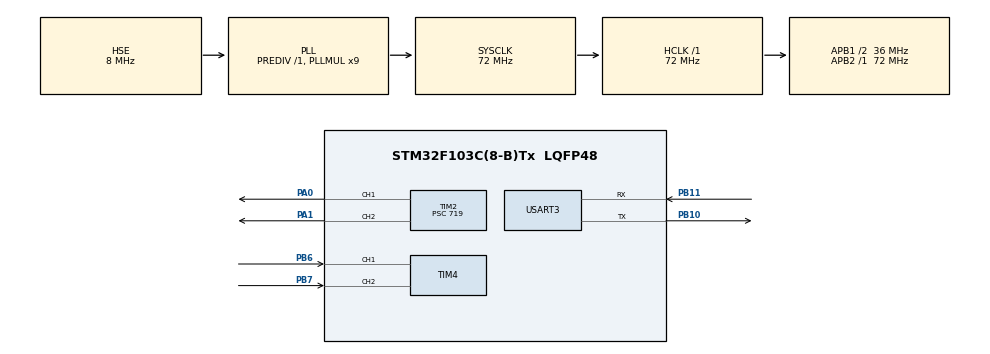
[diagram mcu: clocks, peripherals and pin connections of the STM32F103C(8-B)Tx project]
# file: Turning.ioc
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Mcu.Family=STM32F1
Mcu.Name=STM32F103C(8-B)Tx
Mcu.Package=LQFP48
NVIC.PriorityGroup=NVIC_PRIORITYGROUP_4
NVIC.TIM3_IRQn=true\:2\:0\:true\:false\:true\:true\:true\:true
NVIC.USART3_IRQn=true\:0\:0\:true\:false\:true\:true\:true\:true
PA0-WKUP.Signal=S_TIM2_CH1_ETR
PA1.Signal=S_TIM2_CH2
PA13.Mode=Serial_Wire
PA13.Signal=SYS_JTMS-SWDIO
PA14.Mode=Serial_Wire
PA14.Signal=SYS_JTCK-SWCLK
PB10.Mode=Asynchronous
PB10.Signal=USART3_TX
PB11.Mode=Asynchronous
PB11.Signal=USART3_RX
PB6.Signal=S_TIM4_CH1
PB7.Signal=S_TIM4_CH2
PD0-OSC_IN.Mode=HSE-External-Oscillator
PD0-OSC_IN.Signal=RCC_OSC_IN
PD1-OSC_OUT.Mode=HSE-External-Oscillator
PD1-OSC_OUT.Signal=RCC_OSC_OUT
ProjectManager.HeapSize=0x200
ProjectManager.StackSize=0x400
ProjectManager.TargetToolchain=STM32CubeIDE
RCC.AHBFreq_Value=72000000
RCC.APB1CLKDivider=RCC_HCLK_DIV2
RCC.APB1Freq_Value=36000000
RCC.APB1TimFreq_Value=72000000
RCC.APB2Freq_Value=72000000
RCC.APB2TimFreq_Value=72000000
RCC.HCLKFreq_Value=72000000
RCC.PLLMUL=RCC_PLL_MUL9
RCC.PLLSourceVirtual=RCC_PLLSOURCE_HSE
RCC.SYSCLKFreq_VALUE=72000000
RCC.SYSCLKSource=RCC_SYSCLKSOURCE_PLLCLK
RCC.USBFreq_Value=72000000
SH.S_TIM2_CH1_ETR.0=TIM2_CH1,PWM Generation1 CH1
SH.S_TIM2_CH2.0=TIM2_CH2,PWM Generation2 CH2
SH.S_TIM4_CH1.0=TIM4_CH1,Encoder_Interface
SH.S_TIM4_CH2.0=TIM4_CH2,Encoder_Interface
TIM2.Channel-PWM\ Generation1\ CH1=TIM_CHANNEL_1
TIM2.Channel-PWM\ Generation2\ CH2=TIM_CHANNEL_2
TIM2.CounterMode=TIM_COUNTERMODE_CENTERALIGNED3
TIM2.Period=99
TIM2.Prescaler=719
TIM3.Period=99
TIM3.Prescaler=7199
TIM4.CounterMode=TIM_COUNTERMODE_UP
TIM4.EncoderMode=TIM_ENCODERMODE_TI12
USART3.VirtualMode=VM_ASYNC
VP_TIM3_VS_ClockSourceINT.Mode=Internal
board=custom

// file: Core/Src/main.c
/* USER CODE BEGIN Header */
/**
 ******************************************************************************
 * @file           : main.c
 * @brief          : Main program body
 ******************************************************************************
 * @attention
 *
 * Copyright (c) 2023 STMicroelectronics.
 * All rights reserved.
 *
 * This software is licensed under terms that can be found in the LICENSE file
 * in the root directory of this software component.
 * If no LICENSE file comes with this software, it is provided AS-IS.
 *
 ******************************************************************************
 */
/* USER CODE END Header */
#include "main.h"
#include "tim.h"
#include "usart.h"
#include "gpio.h"

/* USER CODE BEGIN Includes */
#include "stdio.h"
#include "string.h"
#include "../UserCode/Motor/motor.h"
#include "../UserCode/PID/pid.h"
#include "../UserCode/Serial/serial.h"
/* USER CODE END Includes */

/* USER CODE BEGIN PV */
Motor_t tmotor;
PID_CONTROL_t tpid;
extern PROCESS_t tprocess;

extern uint8_t urx_buff[MAX_LEN];
extern uint8_t utx_buff[MAX_LEN];
extern char scmd[4];
extern float dkp;
extern float dki;
extern float dkd;
extern float dset_point;
/* USER CODE END PV */

void SystemClock_Config(void);

int main(void)
{

  /* MCU Configuration--------------------------------------------------------*/

  /* Reset of all peripherals, Initializes the Flash interface and the Systick. */
  HAL_Init();

  /* Configure the system clock */
  SystemClock_Config();

  /* Initialize all configured peripherals */
  MX_GPIO_Init();
  MX_TIM4_Init();
  MX_TIM3_Init();
  MX_TIM2_Init();
  MX_USART3_UART_Init();
  /* USER CODE BEGIN 2 */
  motor_init(&tmotor, PPR);
  pid_init(&tpid, ZERO, ZERO, ZERO, PID_CONTROLLER_LIMIT_MAX, PID_CONTROLLER_LIMIT_MIN, SAMPLING_TIME);
  serial_init();
  /* USER CODE END 2 */

  /* Infinite loop */
  while (1)
  {

    /* USER CODE BEGIN 3 */
    switch (tprocess)
    {
    case NONE:
      break;
    case SPID:
      pid_tunning_set(&tpid, dkp, dki, dkd);
      tprocess = NONE;
      break;
    case VTUN:
      tmotor.dreference_velocity = dset_point;
      break;
    case PTUN:
      tmotor.dreference_position = dset_point;
      break;
    case STOP:
      motor_reset(&tmotor);
      motor_set_duty(0);
      pid_reset(&tpid);
      tprocess = NONE;
      break;
    }
  }
  /* USER CODE END 3 */
}

void SystemClock_Config(void)
{
  RCC_OscInitTypeDef RCC_OscInitStruct = {0};
  RCC_ClkInitTypeDef RCC_ClkInitStruct = {0};

  /** Initializes the RCC Oscillators according to the specified parameters
  * in the RCC_OscInitTypeDef structure.
  */
  RCC_OscInitStruct.OscillatorType = RCC_OSCILLATORTYPE_HSE;
  RCC_OscInitStruct.HSEState = RCC_HSE_ON;
  RCC_OscInitStruct.HSEPredivValue = RCC_HSE_PREDIV_DIV1;
  RCC_OscInitStruct.HSIState = RCC_HSI_ON;
  RCC_OscInitStruct.PLL.PLLState = RCC_PLL_ON;
  RCC_OscInitStruct.PLL.PLLSource = RCC_PLLSOURCE_HSE;
  RCC_OscInitStruct.PLL.PLLMUL = RCC_PLL_MUL9;
  if (HAL_RCC_OscConfig(&RCC_OscInitStruct) != HAL_OK)
  {
    Error_Handler();
  }

  /** Initializes the CPU, AHB and APB buses clocks
  */
  RCC_ClkInitStruct.ClockType = RCC_CLOCKTYPE_HCLK|RCC_CLOCKTYPE_SYSCLK
                              |RCC_CLOCKTYPE_PCLK1|RCC_CLOCKTYPE_PCLK2;
  RCC_ClkInitStruct.SYSCLKSource = RCC_SYSCLKSOURCE_PLLCLK;
  RCC_ClkInitStruct.AHBCLKDivider = RCC_SYSCLK_DIV1;
  RCC_ClkInitStruct.APB1CLKDivider = RCC_HCLK_DIV2;
  RCC_ClkInitStruct.APB2CLKDivider = RCC_HCLK_DIV1;

  if (HAL_RCC_ClockConfig(&RCC_ClkInitStruct, FLASH_LATENCY_2) != HAL_OK)
  {
    Error_Handler();
  }
}

/* USER CODE BEGIN 4 */
void HAL_TIM_PeriodElapsedCallback(TIM_HandleTypeDef *htim)
{
  if (htim->Instance == INTERUPT_TIMER_INSTANCE)
  {
    switch (tprocess)
    {
    case NONE:
      break;
    case SPID:
      break;
    case VTUN:
      motor_read_encoder(&tmotor, &ECODER_TIMER);
      motor_set_velocity(&tmotor, &tpid, dset_point);
      serial_write_com(scmd, tmotor.dvelocity);
      break;
    case PTUN:
      motor_read_encoder(&tmotor, &ECODER_TIMER);
      motor_set_position(&tmotor, &tpid, dset_point);
      serial_write_com(scmd, tmotor.dposition);
      break;
    case STOP:
      break;
    }
  }
}
/* USER CODE END 4 */

void Error_Handler(void)
{
  __disable_irq();
  while (1)
  {
  }
}
